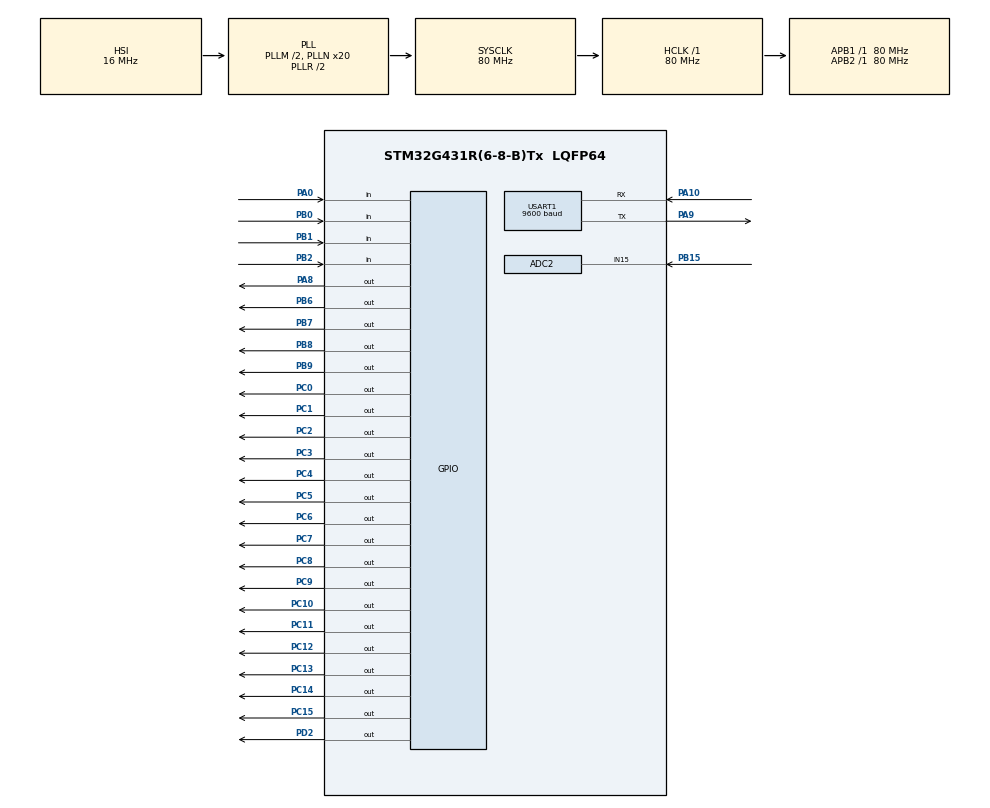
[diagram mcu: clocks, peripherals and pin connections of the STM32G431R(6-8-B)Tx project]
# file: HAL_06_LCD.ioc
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ADC2.Channel-0\#ChannelRegularConversion=ADC_CHANNEL_15
ADC2.NbrOfConversionFlag=1
ADC2.OffsetNumber-0\#ChannelRegularConversion=ADC_OFFSET_NONE
ADC2.Rank-0\#ChannelRegularConversion=1
ADC2.SamplingTime-0\#ChannelRegularConversion=ADC_SAMPLETIME_2CYCLES_5
Mcu.Family=STM32G4
Mcu.Name=STM32G431R(6-8-B)Tx
Mcu.Package=LQFP64
NVIC.PriorityGroup=NVIC_PRIORITYGROUP_4
NVIC.TIM3_IRQn=true\:0\:0\:false\:false\:true\:true\:true\:true
NVIC.TIM4_IRQn=true\:0\:0\:false\:false\:true\:true\:true\:true
NVIC.USART1_IRQn=true\:0\:0\:false\:false\:true\:true\:true\:true
PA0.GPIO_Mode=GPIO_MODE_INPUT
PA0.GPIO_PuPd=GPIO_PULLUP
PA0.Signal=GPIO_Input
PA10.Mode=Asynchronous
PA10.Signal=USART1_RX
PA8.Signal=GPIO_Output
PA9.Mode=Asynchronous
PA9.Signal=USART1_TX
PB0.GPIO_Mode=GPIO_MODE_INPUT
PB0.GPIO_PuPd=GPIO_PULLUP
PB0.Signal=GPIO_Input
PB1.GPIO_Mode=GPIO_MODE_INPUT
PB1.GPIO_PuPd=GPIO_PULLUP
PB1.Signal=GPIO_Input
PB15.Mode=IN15-Single-Ended
PB15.Signal=ADC2_IN15
PB2.GPIO_Mode=GPIO_MODE_INPUT
PB2.GPIO_PuPd=GPIO_PULLUP
PB2.Signal=GPIO_Input
PB6.Signal=GPIO_Output
PB7.Signal=GPIO_Output
PB8-BOOT0.Signal=GPIO_Output
PB9.Signal=GPIO_Output
PC0.Signal=GPIO_Output
PC1.Signal=GPIO_Output
PC10.Signal=GPIO_Output
PC11.Signal=GPIO_Output
PC12.Signal=GPIO_Output
PC13.Signal=GPIO_Output
PC14-OSC32_IN.Signal=GPIO_Output
PC15-OSC32_OUT.Signal=GPIO_Output
PC2.Signal=GPIO_Output
PC3.Signal=GPIO_Output
PC4.Signal=GPIO_Output
PC5.Signal=GPIO_Output
PC6.Signal=GPIO_Output
PC7.Signal=GPIO_Output
PC8.Signal=GPIO_Output
PC9.Signal=GPIO_Output
PD2.Signal=GPIO_Output
PF0-OSC_IN.Mode=HSE-External-Oscillator
PF0-OSC_IN.Signal=RCC_OSC_IN
PF1-OSC_OUT.Mode=HSE-External-Oscillator
PF1-OSC_OUT.Signal=RCC_OSC_OUT
ProjectManager.HeapSize=0x200
ProjectManager.StackSize=0x400
ProjectManager.TargetToolchain=MDK-ARM V5.27
RCC.ADC12Freq_Value=80000000
RCC.AHBFreq_Value=80000000
RCC.APB1Freq_Value=80000000
RCC.APB1TimFreq_Value=80000000
RCC.APB2Freq_Value=80000000
RCC.APB2TimFreq_Value=80000000
RCC.CortexFreq_Value=80000000
RCC.EXTERNAL_CLOCK_VALUE=12288000
RCC.HCLKFreq_Value=80000000
RCC.HSE_VALUE=24000000
RCC.HSI48_VALUE=48000000
RCC.HSI_VALUE=16000000
RCC.LSE_VALUE=32768
RCC.PLLM=RCC_PLLM_DIV2
RCC.PLLN=20
RCC.SYSCLKFreq_VALUE=80000000
RCC.SYSCLKSource=RCC_SYSCLKSOURCE_PLLCLK
RCC.USBFreq_Value=80000000
RCC.VCOOutputFreq_Value=160000000
RTC.Hours=23
RTC.Minutes=59
RTC.Seconds=59
TIM3.PeriodNoDither=10000-1
TIM3.Prescaler=80-1
TIM4.PeriodNoDither=1000-1
TIM4.Prescaler=80-1
USART1.BaudRate=9600
USART1.VirtualMode-Asynchronous=VM_ASYNC
VP_RTC_VS_RTC_Activate.Mode=RTC_Enabled
VP_RTC_VS_RTC_Calendar.Mode=RTC_Calendar
VP_SYS_VS_DBSignals.Mode=DisableDeadBatterySignals
VP_TIM3_VS_ClockSourceINT.Mode=Internal
VP_TIM4_VS_ClockSourceINT.Mode=Internal
board=custom

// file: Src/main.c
/* USER CODE BEGIN Header */
/**
  ******************************************************************************
  * @file           : main.c
  * @brief          : Main program body
  ******************************************************************************
  * @attention
  *
  * <h2><center>&copy; Copyright (c) 2021 STMicroelectronics.
  * All rights reserved.</center></h2>
  *
  * This software component is licensed by ST under BSD 3-Clause license,
  * the "License"; You may not use this file except in compliance with the
  * License. You may obtain a copy of the License at:
  *                        opensource.org/licenses/BSD-3-Clause
  *
  ******************************************************************************
  */
/* USER CODE END Header */
#include "main.h"
#include "adc.h"
#include "rtc.h"
#include "tim.h"
#include "usart.h"
#include "gpio.h"

/* USER CODE BEGIN PTD */
RTC_TimeTypeDef H_M_S_Time;
RTC_DateTypeDef Y_M_D_Date;

/* USER CODE END PTD */

/* USER CODE BEGIN PV */
bool view=0;
extern keys key[4];

float k=0.1;

extern char rxdata[30];
extern uint8_t rxtemp;
extern uint8_t rxpointer;

float k_new=0;

uint16_t k_8=0;

time_sets timeset={0,0,0};
time_sets timeset0={0,0,0};

bool is_led_open=1;
bool led_flag=0;

uint8_t whitch_para=0;

bool send_flag=0;
extern uint16_t cnt;
/* USER CODE END PV */

void SystemClock_Config(void);
/* USER CODE BEGIN PFP */
void disp_proc(void);
void key_proc(void);
void rx_proc(void);
void adc_send(void);
void led_proc(void);
/* USER CODE END PFP */

int main(void)
{

  /* MCU Configuration--------------------------------------------------------*/

  /* Reset of all peripherals, Initializes the Flash interface and the Systick. */
  HAL_Init();

  /* Configure the system clock */
  SystemClock_Config();

  /* Initialize all configured peripherals */
  MX_GPIO_Init();
  MX_TIM3_Init();
  MX_ADC2_Init();
  MX_USART1_UART_Init();
  MX_RTC_Init();
  MX_TIM4_Init();
  /* USER CODE BEGIN 2 */

	LCD_Init();
	HAL_TIM_Base_Start_IT(&htim3);
	HAL_TIM_Base_Start_IT(&htim4);
	HAL_UART_Receive_IT(&huart1, &rxtemp, 1);
  /* USER CODE END 2 */

  /* Infinite loop */
  /* USER CODE BEGIN WHILE */

	LCD_Clear(Black);
	LCD_SetBackColor(Black);
	LCD_SetTextColor(White);

	k_8=eeprom_read(0x02)+((uint16_t)(eeprom_read(0x01))<<8);
	k=(float)k_8/1000;

	led_init();
  while (1)
  {
    /* USER CODE END WHILE */

    /* USER CODE BEGIN 3 */
		HAL_RTC_GetTime(&hrtc,&H_M_S_Time,RTC_FORMAT_BIN);
		HAL_RTC_GetDate(&hrtc,&Y_M_D_Date,RTC_FORMAT_BIN);
		disp_proc();
		key_proc();
		if(rxpointer!=0)
		{
			uint8_t temp;
			temp=rxpointer;
			HAL_Delay(1);
			if(temp==rxpointer)
				rx_proc();
		}
		adc_send();
		led_proc();
  }
  /* USER CODE END 3 */
}

void SystemClock_Config(void)
{
  RCC_OscInitTypeDef RCC_OscInitStruct = {0};
  RCC_ClkInitTypeDef RCC_ClkInitStruct = {0};

  /** Configure the main internal regulator output voltage
  */
  HAL_PWREx_ControlVoltageScaling(PWR_REGULATOR_VOLTAGE_SCALE1);

  /** Initializes the RCC Oscillators according to the specified parameters
  * in the RCC_OscInitTypeDef structure.
  */
  RCC_OscInitStruct.OscillatorType = RCC_OSCILLATORTYPE_HSI|RCC_OSCILLATORTYPE_LSI;
  RCC_OscInitStruct.HSIState = RCC_HSI_ON;
  RCC_OscInitStruct.HSICalibrationValue = RCC_HSICALIBRATION_DEFAULT;
  RCC_OscInitStruct.LSIState = RCC_LSI_ON;
  RCC_OscInitStruct.PLL.PLLState = RCC_PLL_ON;
  RCC_OscInitStruct.PLL.PLLSource = RCC_PLLSOURCE_HSI;
  RCC_OscInitStruct.PLL.PLLM = RCC_PLLM_DIV2;
  RCC_OscInitStruct.PLL.PLLN = 20;
  RCC_OscInitStruct.PLL.PLLP = RCC_PLLP_DIV2;
  RCC_OscInitStruct.PLL.PLLQ = RCC_PLLQ_DIV2;
  RCC_OscInitStruct.PLL.PLLR = RCC_PLLR_DIV2;
  if (HAL_RCC_OscConfig(&RCC_OscInitStruct) != HAL_OK)
  {
    Error_Handler();
  }

  /** Initializes the CPU, AHB and APB buses clocks
  */
  RCC_ClkInitStruct.ClockType = RCC_CLOCKTYPE_HCLK|RCC_CLOCKTYPE_SYSCLK
                              |RCC_CLOCKTYPE_PCLK1|RCC_CLOCKTYPE_PCLK2;
  RCC_ClkInitStruct.SYSCLKSource = RCC_SYSCLKSOURCE_PLLCLK;
  RCC_ClkInitStruct.AHBCLKDivider = RCC_SYSCLK_DIV1;
  RCC_ClkInitStruct.APB1CLKDivider = RCC_HCLK_DIV1;
  RCC_ClkInitStruct.APB2CLKDivider = RCC_HCLK_DIV1;

  if (HAL_RCC_ClockConfig(&RCC_ClkInitStruct, FLASH_LATENCY_2) != HAL_OK)
  {
    Error_Handler();
  }
}

/* USER CODE BEGIN 4 */
void disp_proc()
{
	if(view==0)
	{
		char text[20];
		sprintf(text,"   V1:%.2fV        ",get_adc(&hadc2));
		LCD_DisplayStringLine(Line1, (uint8_t *)text);
		sprintf(text,"   k:%.1f        ",k);
		LCD_DisplayStringLine(Line3, (uint8_t *)text);
		if(is_led_open==0)
			sprintf(text,"   LED:OFF        ");
		if(is_led_open==1)
			sprintf(text,"   LED:ON         ");
		LCD_DisplayStringLine(Line4, (uint8_t *)text);
		sprintf(text,"   T:%d%d-%d%d-%d%d         ",H_M_S_Time.Hours/10,H_M_S_Time.Hours%10,H_M_S_Time.Minutes/10,H_M_S_Time.Minutes%10,H_M_S_Time.Seconds/10,H_M_S_Time.Seconds%10);
		LCD_DisplayStringLine(Line5, (uint8_t *)text);
	}
	if(view==1)
	{
		char text[20];
		sprintf(text,"      SETTING   ");
		LCD_DisplayStringLine(Line1, (uint8_t *)text);
		switch(whitch_para)
		{
			case 0:
			{
				if(led_flag==0)
					sprintf(text,"    %d%d-%d%d-%d%d    ",timeset0.hours/10,timeset0.hours%10,timeset0.minutes/10,timeset0.minutes%10,timeset0.seconds/10,timeset0.seconds%10);
				else
					sprintf(text,"      -%d%d-%d%d       ",timeset0.minutes/10,timeset0.minutes%10,timeset0.seconds/10,timeset0.seconds%10);
			};break;
			case 1:
			{
				if(led_flag==0)
					sprintf(text,"    %d%d-%d%d-%d%d    ",timeset0.hours/10,timeset0.hours%10,timeset0.minutes/10,timeset0.minutes%10,timeset0.seconds/10,timeset0.seconds%10);
				else
					sprintf(text,"    %d%d-  -%d%d        ",timeset0.hours/10,timeset0.hours%10,timeset0.seconds/10,timeset0.seconds%10);
			};break;
			case 2:
			{
				if(led_flag==0)
					sprintf(text,"    %d%d-%d%d-%d%d    ",timeset0.hours/10,timeset0.hours%10,timeset0.minutes/10,timeset0.minutes%10,timeset0.seconds/10,timeset0.seconds%10);
				else
					sprintf(text,"    %d%d-%d%d-        ",timeset0.hours/10,timeset0.hours%10,timeset0.minutes/10,timeset0.minutes%10);
			};break;
		}
		LCD_DisplayStringLine(Line3, (uint8_t *)text);
		sprintf(text,"                ");
		LCD_DisplayStringLine(Line4, (uint8_t *)text);
		sprintf(text,"                ");
		LCD_DisplayStringLine(Line5, (uint8_t *)text);
	}
}

void key_proc()
{
	if(key[0].key_single==1)
	{
		if(view==0)
			is_led_open=!is_led_open;
		key[0].key_single=0;
	}
	if(key[1].key_single==1)
	{
		whitch_para=0;
		if(view==0)
		{
			timeset0.hours=timeset.hours;
			timeset0.minutes=timeset.minutes;
			timeset0.seconds=timeset.seconds;
			view=1;
		}
		else
		{
			timeset.hours=timeset0.hours;
			timeset.minutes=timeset0.minutes;
			timeset.seconds=timeset0.seconds;
			view=0;
		}
		key[1].key_single=0;
	}
	if(key[2].key_single==1)
	{
		if(view==1)
		{
			if(++whitch_para>2)
				whitch_para=0;
		}
		key[2].key_single=0;
	}
	if(key[3].key_single==1)
	{
		if(view==1)
		{
			switch(whitch_para)
			{
				case 0:
				{
					if(++timeset0.hours==24)
						timeset0.hours=0;
				};break;
				case 1:
				{
					if(++timeset0.minutes==60)
						timeset0.minutes=0;
				};break;
				case 2:
				{
					if(++timeset0.seconds==60)
						timeset0.seconds=0;
				};break;
			}
		}
		key[3].key_single=0;
	}
}

void rx_proc()
{
	if((rxdata[0]=='k')&&(rxdata[1]=='0')&&(rxdata[2]=='.')&&(rxdata[rxpointer-1]=='n')&&(rxdata[rxpointer-2]=='\\'))
	{
		k_new=0;
		for(int i=3;i<rxpointer-2;i++)
		{
			if((rxdata[i]<'0')||(rxdata[i]>'9'))
				goto HERE;
			float temp=rxdata[i]-'0';
			for(int j=1;j<i-1;j++)
			{
				temp/=10;
			}
			k_new+=temp;
		}
		k=k_new;
		k_8=(uint16_t)(k*1000)/1;
		eeprom_write(0x01,k_8>>8);
		HAL_Delay(10);
		eeprom_write(0x02,k_8&0xff);
		HAL_Delay(10);
		char text[30];
		sprintf(text,"ok\n");
		HAL_UART_Transmit(&huart1,(uint8_t *)&text, strlen(text), 50);
	}
	HERE:
	rxpointer=0;
	memset(rxdata,0,30);
}

void adc_send()
{
	if((H_M_S_Time.Hours==timeset.hours)&&(H_M_S_Time.Minutes==timeset.minutes)&&(H_M_S_Time.Seconds==timeset.seconds))
	{
		if(send_flag==1)
		{
			char text[30];
			sprintf(text,"%.2f+%.1f+%d%d%d%d%d%d\n",get_adc(&hadc2),k,H_M_S_Time.Hours/10,H_M_S_Time.Hours%10,H_M_S_Time.Minutes/10,H_M_S_Time.Minutes%10,H_M_S_Time.Seconds/10,H_M_S_Time.Seconds%10);
			HAL_UART_Transmit(&huart1,(uint8_t *)&text, strlen(text), 50);
			cnt=0;
			send_flag=0;
		}
	}
}

void led_proc()
{
	if(is_led_open==1)
	{
		if(get_adc(&hadc2)>(3.3*k))
			ld1(led_flag);
		else
			ld1(1);
	}
	else
		ld1(1);
}
/* USER CODE END 4 */

void Error_Handler(void)
{
}
